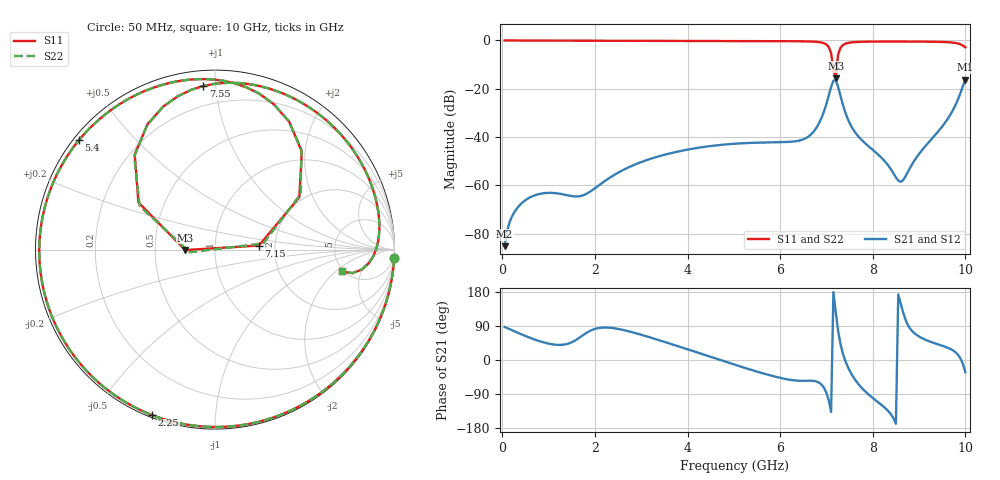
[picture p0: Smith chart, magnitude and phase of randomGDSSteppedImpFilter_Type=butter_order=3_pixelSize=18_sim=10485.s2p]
! freq	dB(S11)	phase(S11)	dB(S12)	phase(S12)
!  dB(S21)	phase(S21)	dB(S22)	phase(S22)
!S-par simulation data
#  GHz  S  DB  R 50
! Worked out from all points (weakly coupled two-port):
!   200 points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, 50 MHz to 10 GHz, reference 50 ohm
!   highest |S21| = -16.19 dB at 10 GHz (marker M1); lowest = -85.1 dB at 50 MHz (marker M2)
!   lowest |S11| = -15.6 dB at 7.2 GHz (marker M3), VSWR 1.40, Z = 35.8 - j0.181 ohm
!   |S11| at or under -10 dB: 7.134 GHz to 7.229 GHz (94.68 MHz wide, 1.32 % of centre)
!   |S22| runs from -17.1 to 0.0 dB; largest |S21 - S12| = 0
!   S11 on the Smith chart (normalised r, x): 50 MHz: 0, -41; 2.25 GHz: 0.01, -0.69; 5.4 GHz: 0.02, +0.35; 7.15 GHz: 1.65, +0.08; 7.55 GHz: 0.08, +0.93; 10 GHz: 4.84, -2.44
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0.05  -0.00 -2.8  -85.15 87.3  -85.15 87.3  -0.00 -2.8
0.3  -0.02 -16.6  -69.93 73.8  -69.93 73.8  -0.02 -16.6
0.6  -0.04 -32.8  -64.94 58.5  -64.94 58.5  -0.04 -32.8
1.75  -0.10 -89.5  -64.05 66.1  -64.05 66.1  -0.10 -89.5
2.25  -0.12 -110.8  -57.71 85.7  -57.71 85.7  -0.12 -110.8
3.4  -0.15 -153.5  -47.84 51.7  -47.84 51.7  -0.15 -153.5
5.05  -0.22 152.5  -42.70 -13.7  -42.70 -13.7  -0.22 152.6
5.4  -0.24 141.1  -42.38 -27.0  -42.38 -27.0  -0.24 141.1
6.35  -0.32 107.2  -41.68 -54.3  -41.68 -54.3  -0.32 107.2
6.7  -0.47 90.1  -38.25 -54.9  -38.25 -54.9  -0.47 90.2
7  -1.69 59.8  -26.19 -86.9  -26.19 -86.9  -1.65 60.3
7.1  -5.15 31.8  -19.26 -136.8  -19.26 -136.8  -4.91 32.9
7.15  -12.18 5.3  -16.63 179.2  -16.63 179.2  -11.33 7.3
7.2  -15.60 -179.2  -16.50 126.3  -16.50 126.3  -17.06 -174.0
7.25  -6.00 148.4  -19.09 78.6  -19.09 78.6  -6.31 150.1
7.3  -3.17 130.1  -22.78 43.7  -22.78 43.7  -3.29 131.1
7.4  -1.42 109.7  -29.43 0.1  -29.43 0.1  -1.46 110.2
7.55  -0.78 94.1  -35.99 -38.9  -35.99 -38.9  -0.79 94.4
8.35  -0.44 55.2  -52.16 -137.1  -52.16 -137.1  -0.44 55.3
8.65  -0.44 43.7  -57.93 127.8  -57.93 127.8  -0.44 43.8
9.65  -0.75 4.9  -31.52 30.7  -31.52 30.7  -0.75 4.9
10  -2.87 -9.8  -16.19 -32.3  -16.19 -32.3  -2.86 -9.7
